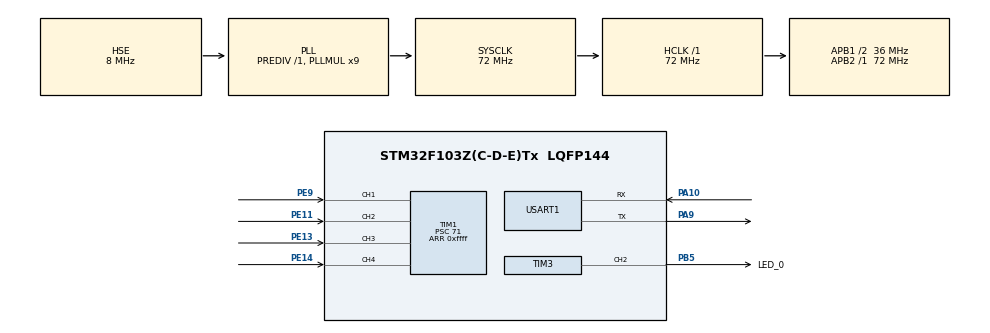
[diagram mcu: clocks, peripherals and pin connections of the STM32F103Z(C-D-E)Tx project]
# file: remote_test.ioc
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Mcu.Family=STM32F1
Mcu.Name=STM32F103Z(C-D-E)Tx
Mcu.Package=LQFP144
NVIC.PriorityGroup=NVIC_PRIORITYGROUP_4
NVIC.TIM1_BRK_IRQn=true\:0\:0\:true\:false\:true\:true\:true
NVIC.TIM1_CC_IRQn=true\:0\:0\:true\:false\:true\:true\:true
OSC_IN.Mode=HSE-External-Oscillator
OSC_IN.Signal=RCC_OSC_IN
OSC_OUT.Mode=HSE-External-Oscillator
OSC_OUT.Signal=RCC_OSC_OUT
PA10.Mode=Asynchronous
PA10.Signal=USART1_RX
PA13.Mode=Serial_Wire
PA13.Signal=SYS_JTMS-SWDIO
PA14.Mode=Serial_Wire
PA14.Signal=SYS_JTCK-SWCLK
PA9.Mode=Asynchronous
PA9.Signal=USART1_TX
PB5.GPIO_Label=LED_0
PB5.Signal=S_TIM3_CH2
PE11.GPIO_PuPd=GPIO_PULLDOWN
PE11.Signal=S_TIM1_CH2
PE13.GPIO_PuPd=GPIO_PULLDOWN
PE13.Signal=S_TIM1_CH3
PE14.GPIO_PuPd=GPIO_PULLDOWN
PE14.Signal=S_TIM1_CH4
PE9.GPIO_PuPd=GPIO_PULLDOWN
PE9.Signal=S_TIM1_CH1
ProjectManager.HeapSize=0x200
ProjectManager.StackSize=0x400
ProjectManager.TargetToolchain=MDK-ARM V5
RCC.AHBFreq_Value=72000000
RCC.APB1CLKDivider=RCC_HCLK_DIV2
RCC.APB1Freq_Value=36000000
RCC.APB1TimFreq_Value=72000000
RCC.APB2Freq_Value=72000000
RCC.APB2TimFreq_Value=72000000
RCC.HCLKFreq_Value=72000000
RCC.PLLMUL=RCC_PLL_MUL9
RCC.PLLSourceVirtual=RCC_PLLSOURCE_HSE
RCC.SYSCLKFreq_VALUE=72000000
RCC.SYSCLKSource=RCC_SYSCLKSOURCE_PLLCLK
RCC.USBFreq_Value=72000000
SH.S_TIM1_CH1.0=TIM1_CH1,Input_Capture1_from_TI1
SH.S_TIM1_CH2.0=TIM1_CH2,Input_Capture2_from_TI2
SH.S_TIM1_CH3.0=TIM1_CH3,Input_Capture3_from_TI3
SH.S_TIM1_CH4.0=TIM1_CH4,Input_Capture4_from_TI4
SH.S_TIM3_CH2.0=TIM3_CH2,PWM Generation2 CH2
TIM1.Channel-Input_Capture1_from_TI1=TIM_CHANNEL_1
TIM1.Channel-Input_Capture2_from_TI2=TIM_CHANNEL_2
TIM1.Channel-Input_Capture3_from_TI3=TIM_CHANNEL_3
TIM1.Channel-Input_Capture4_from_TI4=TIM_CHANNEL_4
TIM1.Period=0xffff
TIM1.Prescaler=71
TIM3.Channel-PWM\ Generation2\ CH2=TIM_CHANNEL_2
TIM3.Period=1000
TIM3.Prescaler=71
USART1.VirtualMode=VM_ASYNC
VP_TIM1_VS_ClockSourceINT.Mode=Internal
board=custom

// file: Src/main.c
/* USER CODE BEGIN Header */
/**
  ******************************************************************************
  * @file           : main.c
  * @brief          : Main program body
  ******************************************************************************
  * @attention
  *
  * <h2><center>&copy; Copyright (c) 2023 STMicroelectronics.
  * All rights reserved.</center></h2>
  *
  * This software component is licensed by ST under BSD 3-Clause license,
  * the "License"; You may not use this file except in compliance with the
  * License. You may obtain a copy of the License at:
  *                        opensource.org/licenses/BSD-3-Clause
  *
  ******************************************************************************
  */
/* USER CODE END Header */

#include "main.h"
#include "tim.h"
#include "usart.h"
#include "gpio.h"

void SystemClock_Config(void);

int main(void)
{

  /* MCU Configuration--------------------------------------------------------*/

  /* Reset of all peripherals, Initializes the Flash interface and the Systick. */
  HAL_Init();

  /* Configure the system clock */
  SystemClock_Config();

  /* Initialize all configured peripherals */
  MX_GPIO_Init();
  MX_USART1_UART_Init();
  MX_TIM1_Init();
  MX_TIM3_Init();
  /* USER CODE BEGIN 2 */

	HAL_TIM_IC_Start_IT(&htim1,TIM_CHANNEL_1);	//一定要开启TIM1通道1的捕获中断
	HAL_TIM_IC_Start_IT(&htim1,TIM_CHANNEL_2);	//一定要开启TIM1通道2的捕获中断
	HAL_TIM_IC_Start_IT(&htim1,TIM_CHANNEL_3);	//一定要开启TIM1通道3的捕获中断
	HAL_TIM_IC_Start_IT(&htim1,TIM_CHANNEL_4);	//一定要开启TIM1通道4的捕获中断

	HAL_TIM_Base_Start(&htim3);									//开启定时器
  HAL_TIM_PWM_Start(&htim3, TIM_CHANNEL_2);		//开启PWM通道

  /* USER CODE END 2 */

  /* Infinite loop */
  while (1)
  {

    /* USER CODE BEGIN 3 */
		if(TIM1CH1_CAPTURE_STA & 0X80)									//完成一次高电平捕获
		{
			Remoter_Ch1 = TIM1CH1_CAPTURE_VAL+Remoter_Adjustment;						//总的高电平时间
			TIM1CH1_CAPTURE_STA = 0;											//准备下一次捕获
		}

		if(TIM1CH2_CAPTURE_STA & 0X80)									//完成一次高电平捕获
		{
			Remoter_Ch2 = TIM1CH2_CAPTURE_VAL+Remoter_Adjustment;						//总的高电平时间
			TIM1CH2_CAPTURE_STA = 0;											//准备下一次捕获
		}

		if(TIM1CH3_CAPTURE_STA & 0X80)									//完成一次高电平捕获
		{
			Remoter_Ch3 = TIM1CH3_CAPTURE_VAL+Remoter_Adjustment;						//总的高电平时间
			TIM1CH3_CAPTURE_STA = 0;											//准备下一次捕获
		}

		if(TIM1CH4_CAPTURE_STA & 0X80)									//完成一次高电平捕获
		{
			Remoter_Ch4 = TIM1CH4_CAPTURE_VAL+Remoter_Adjustment;						//总的高电平时间
			TIM1CH4_CAPTURE_STA = 0;											//准备下一次捕获
		}

		__HAL_TIM_SetCompare(&htim3, TIM_CHANNEL_2, 1100-Remoter_Ch3);

		//HAL_UART_Transmit(&huart1, "Hello RoboMaster \r\n", 20, 10);
    HAL_Delay(10);
  }
  /* USER CODE END 3 */
}

void SystemClock_Config(void)
{
  RCC_OscInitTypeDef RCC_OscInitStruct = {0};
  RCC_ClkInitTypeDef RCC_ClkInitStruct = {0};

  /** Initializes the CPU, AHB and APB busses clocks
  */
  RCC_OscInitStruct.OscillatorType = RCC_OSCILLATORTYPE_HSE;
  RCC_OscInitStruct.HSEState = RCC_HSE_ON;
  RCC_OscInitStruct.HSEPredivValue = RCC_HSE_PREDIV_DIV1;
  RCC_OscInitStruct.HSIState = RCC_HSI_ON;
  RCC_OscInitStruct.PLL.PLLState = RCC_PLL_ON;
  RCC_OscInitStruct.PLL.PLLSource = RCC_PLLSOURCE_HSE;
  RCC_OscInitStruct.PLL.PLLMUL = RCC_PLL_MUL9;
  if (HAL_RCC_OscConfig(&RCC_OscInitStruct) != HAL_OK)
  {
    Error_Handler();
  }
  /** Initializes the CPU, AHB and APB busses clocks
  */
  RCC_ClkInitStruct.ClockType = RCC_CLOCKTYPE_HCLK|RCC_CLOCKTYPE_SYSCLK
                              |RCC_CLOCKTYPE_PCLK1|RCC_CLOCKTYPE_PCLK2;
  RCC_ClkInitStruct.SYSCLKSource = RCC_SYSCLKSOURCE_PLLCLK;
  RCC_ClkInitStruct.AHBCLKDivider = RCC_SYSCLK_DIV1;
  RCC_ClkInitStruct.APB1CLKDivider = RCC_HCLK_DIV2;
  RCC_ClkInitStruct.APB2CLKDivider = RCC_HCLK_DIV1;

  if (HAL_RCC_ClockConfig(&RCC_ClkInitStruct, FLASH_LATENCY_2) != HAL_OK)
  {
    Error_Handler();
  }
}

void Error_Handler(void)
{
}

/************************ (C) COPYRIGHT STMicroelectronics *****END OF FILE****/
